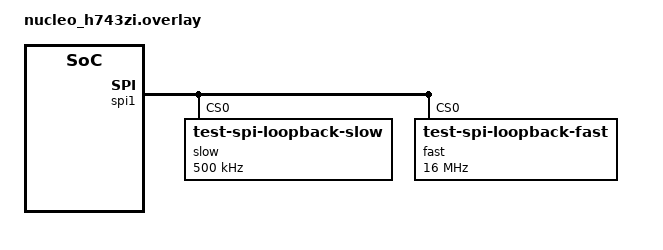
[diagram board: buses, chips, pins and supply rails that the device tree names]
/*
 * Copyright (c) 2021 STMicroelectronics
 *
 * SPDX-License-Identifier: Apache-2.0
 */

&spi1 {
	dmas = <&dmamux1 0 38 (STM32_DMA_PERIPH_TX | STM32_DMA_PRIORITY_HIGH)
		&dmamux1 1 37 (STM32_DMA_PERIPH_RX | STM32_DMA_PRIORITY_HIGH)>;
	dma-names = "tx", "rx";
	slow@0 {
		compatible = "test-spi-loopback-slow";
		reg = <0>;
		spi-max-frequency = <500000>;
	};
	fast@0 {
		compatible = "test-spi-loopback-fast";
		reg = <0>;
		spi-max-frequency = <16000000>;
	};
};

&dma1 {
	status = "okay";
};

&dma2 {
	status = "okay";
};

&dmamux1 {
	status = "okay";
};
